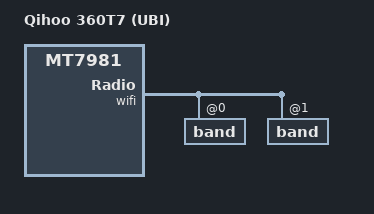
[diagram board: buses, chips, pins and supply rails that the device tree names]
// SPDX-License-Identifier: GPL-2.0-or-later OR MIT

#include "mt7981b-qihoo-360t7-common.dtsi"

/ {
	compatible = "qihoo,360t7-ubi", "mediatek,mt7981";
	model = "Qihoo 360T7 (UBI)";

	aliases {
		label-mac-device = &wan;
	};
};

&gmac0 {
	nvmem-cell-names = "mac-address";
	nvmem-cells = <&macaddr_factory_8000 (0)>;
};

&partitions {
	partition@100000 {
		reg = <0x100000 0x7f00000>;
		compatible = "linux,ubi";
		label = "ubi";

		volumes {
			ubi_factory: ubi-volume-factory {
				volname = "factory";
			};

			ubi-volume-fip {
				volname = "fip";
			};

			ubi_rootdisk: ubi-volume-fit {
				volname = "fit";
			};

			ubi_ubootenv: ubi-volume-ubootenv {
				volname = "ubootenv";
			};

			ubi_ubootenv2: ubi-volume-ubootenv2 {
				volname = "ubootenv2";
			};
		};
	};
};

&ubi_factory {
	nvmem-layout {
		compatible = "fixed-layout";
		#address-cells = <1>;
		#size-cells = <1>;

		eeprom_factory_0: eeprom@0 {
			reg = <0x0 0x1000>;
		};

		macaddr_factory_8000: macaddr@8000 {
			compatible = "mac-base";
			reg = <0x8000 0x6>;
			#nvmem-cell-cells = <1>;
		};
	};
};

&ubi_ubootenv {
	nvmem-layout {
		compatible = "u-boot,env-redundant-bool";
	};
};

&ubi_ubootenv2 {
	nvmem-layout {
		compatible = "u-boot,env-redundant-bool";
	};
};

&wan {
	nvmem-cell-names = "mac-address";
	nvmem-cells = <&macaddr_factory_8000 (1)>;
};

&wifi {
	status = "okay";

	#address-cells = <1>;
	#size-cells = <0>;

	nvmem-cells = <&eeprom_factory_0>;
	nvmem-cell-names = "eeprom";

	band@0 {
		reg = <0>;

		nvmem-cells = <&macaddr_factory_8000 (2)>;
		nvmem-cell-names = "mac-address";
	};

	band@1 {
		reg = <1>;

		nvmem-cells = <&macaddr_factory_8000 (3)>;
		nvmem-cell-names = "mac-address";
	};
};
